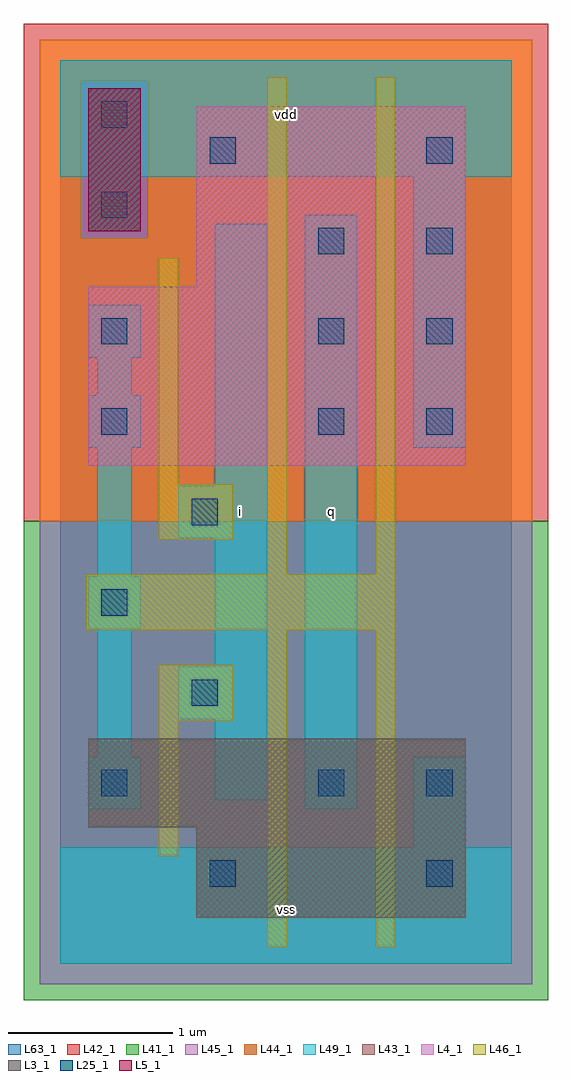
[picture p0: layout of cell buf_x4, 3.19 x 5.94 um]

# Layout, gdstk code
import gdstk
lib = gdstk.Library(unit=1e-6, precision=1e-09)
def R(c, l, rs):  # rectangles x0, y0, x1, y1
    for r in rs: c.add(gdstk.rectangle(r[:2], r[2:], *l))
def A(c, l, x, y, w, h, nx, ny, dx, dy):  # array of equal rectangles
    R(c, l, [(x+i*dx, y+j*dy, x+i*dx+w, y+j*dy+h) for i in range(nx) for j in range(ny)])
L3_1 = (3, 1)
L4_1 = (4, 1)
L5_1 = (5, 1)
L25_1 = (25, 1)
L41_1 = (41, 1)
L42_1 = (42, 1)
L43_1 = (43, 1)
L44_1 = (44, 1)
L45_1 = (45, 1)
L46_1 = (46, 1)
L49_1 = (49, 1)
L63_1 = (63, 1)

buf_x4 = lib.new_cell('buf_x4')
R(buf_x4, L3_1, [(0.83,0.28,2.47,0.83), (0.17,0.83,2.47,1.37)])
R(buf_x4, L4_1, [(0.17,3.03,2.47,4.12), (0.83,4.12,2.47,5.22)])
R(buf_x4, L5_1, [(0.17,4.46,0.49,5.33)])
A(buf_x4, L25_1, 0.25, 1.02, 0.16, 0.16, 1, 3, 0, 1.1)
A(buf_x4, L25_1, 1.57, 3.22, 0.16, 0.16, 1, 3, 0, 0.55)
A(buf_x4, L25_1, 2.23, 3.22, 0.16, 0.16, 1, 4, 0, 0.55)
R(buf_x4, L25_1, [(0.91,0.47,1.07,0.63), (2.23,0.47,2.39,0.63), (1.57,1.02,1.73,1.18), (2.23,1.02,2.39,1.18), (0.8,1.57,0.96,1.73), (0.8,2.67,0.96,2.83), (0.25,3.77,0.41,3.93), (0.25,4.54,0.41,4.7), (0.91,4.87,1.07,5.03), (0.25,5.09,0.41,5.25)])
R(buf_x4, L41_1, [(-0.22,-0.22,2.97,2.695)])
R(buf_x4, L42_1, [(-0.22,2.695,2.97,5.72)])
R(buf_x4, L43_1, [(0.83,0.28,2.47,0.83), (0.17,0.83,2.47,1.37), (0.17,3.03,2.47,4.12), (0.83,4.12,2.47,5.22), (0.17,4.46,0.49,5.33)])
R(buf_x4, L44_1, [(-0.125,2.695,2.875,4.415), (-0.125,4.415,0.125,5.375), (0.535,4.415,2.875,5.375), (-0.125,5.375,2.875,5.625)])
R(buf_x4, L45_1, [(-0.125,-0.125,2.875,2.695), (0.125,4.415,0.535,5.375)])
R(buf_x4, L46_1, [(1.26,0.105,1.38,2.03), (1.92,0.105,2.04,2.03), (0.6,0.655,0.72,1.48), (0.6,1.48,1.05,1.82), (0.16,2.03,2.04,2.37), (1.26,2.37,1.38,5.395), (1.92,2.37,2.04,5.395), (0.6,2.58,1.05,2.92), (0.6,2.92,0.72,4.295)])
A(buf_x4, L49_1, 0.17, 0.94, 0.32, 0.32, 1, 3, 0, 1.1)
R(buf_x4, L49_1, [(0,0,2.75,0.71), (2.15,0.71,2.47,1.26), (1.49,0.94,1.81,4.56), (0.94,0.995,1.26,1.49), (0.225,1.26,0.435,2.04), (0.72,1.49,1.26,1.81), (0.94,1.81,1.26,2.59), (0.225,2.36,0.435,3.14), (0.72,2.59,1.26,2.91), (0.94,2.91,1.26,4.505), (2.15,3.14,2.47,4.79), (0.225,3.46,0.435,3.69), (0.17,3.69,0.49,4.01), (0.17,4.46,0.49,4.79), (0,4.79,2.75,5.5)])
R(buf_x4, L63_1, [(0,0,2.75,5.5)])
buf_x4.add(gdstk.Label('i', (1.1,2.75), layer=49, texttype=1))
buf_x4.add(gdstk.Label('i', (1.1,2.75), layer=49, texttype=1))
buf_x4.add(gdstk.Label('vss', (1.375,0.33), layer=49, texttype=1))
buf_x4.add(gdstk.Label('vss', (1.375,0.33), layer=49, texttype=1))
buf_x4.add(gdstk.Label('q', (1.65,2.75), layer=49, texttype=1))
buf_x4.add(gdstk.Label('q', (1.65,2.75), layer=49, texttype=1))
buf_x4.add(gdstk.Label('vdd', (1.375,5.17), layer=49, texttype=1))
buf_x4.add(gdstk.Label('vdd', (1.375,5.17), layer=49, texttype=1))

lib.write_gds('buf_x4.gds')
